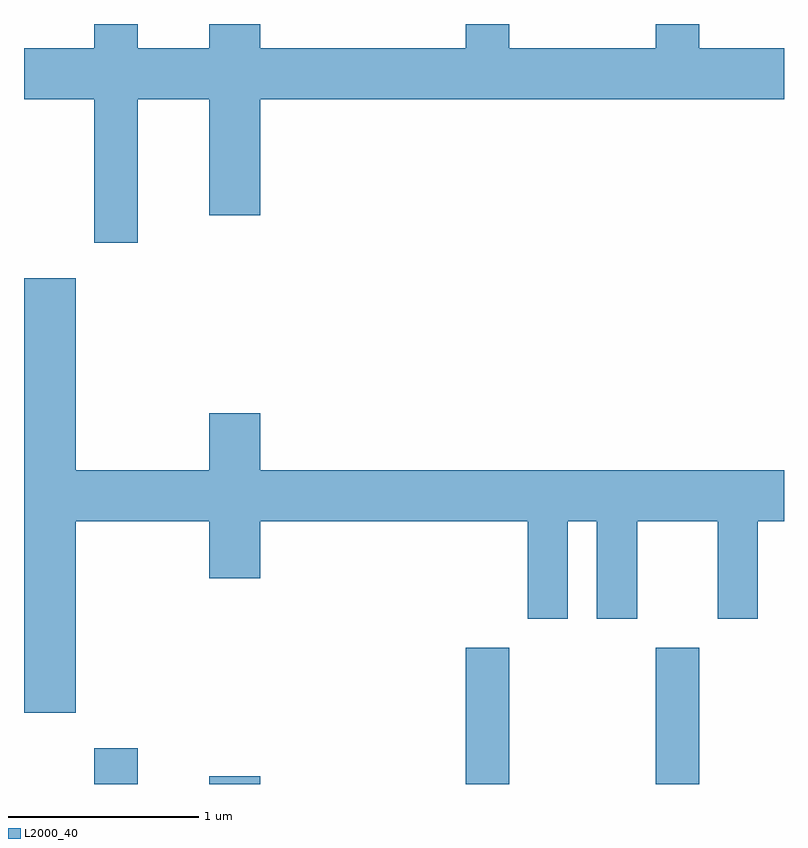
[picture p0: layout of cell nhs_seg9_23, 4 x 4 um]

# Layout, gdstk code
import gdstk
lib = gdstk.Library(unit=1e-6, precision=1e-09)
def R(c, l, rs):  # rectangles x0, y0, x1, y1
    for r in rs: c.add(gdstk.rectangle(r[:2], r[2:], *l))
def P(c, l, *ps):  # polygons
    for p in ps: c.add(gdstk.Polygon(p, *l))
L2000_40 = (2000, 40)

nhs_seg9_23 = lib.new_cell('nhs_seg9_23')
R(nhs_seg9_23, L2000_40, [(185.981,1990.432,186.209,1990.619), (186.586,1990.432,186.854,1990.474), (187.936,1990.432,188.164,1991.149), (188.936,1990.432,189.164,1991.149)])
P(nhs_seg9_23, L2000_40, [(186.209,1994.036),(186.586,1994.036),(186.586,1993.426),(186.854,1993.426),(186.854,1994.036),(189.611,1994.036),(189.611,1994.304),(189.164,1994.304),(189.164,1994.432),(188.936,1994.432),(188.936,1994.304),(188.164,1994.304),(188.164,1994.432),(187.936,1994.432),(187.936,1994.304),(186.854,1994.304),(186.854,1994.432),(186.586,1994.432),(186.586,1994.304),(186.209,1994.304),(186.209,1994.432),(185.981,1994.432),(185.981,1994.304),(185.611,1994.304),(185.611,1994.036),(185.981,1994.036),(185.981,1993.281),(186.209,1993.281)],
  [(185.884,1991.816),(186.586,1991.816),(186.586,1991.516),(186.854,1991.516),(186.854,1991.816),(188.261,1991.816),(188.261,1991.301),(188.474,1991.301),(188.474,1991.816),(188.626,1991.816),(188.626,1991.301),(188.839,1991.301),(188.839,1991.816),(189.261,1991.816),(189.261,1991.301),(189.474,1991.301),(189.474,1991.816),(189.611,1991.816),(189.611,1992.084),(186.854,1992.084),(186.854,1992.384),(186.586,1992.384),(186.586,1992.084),(185.884,1992.084),(185.884,1993.094),(185.611,1993.094),(185.611,1990.806),(185.884,1990.806)])

lib.write_gds('nhs_seg9_23.gds')
